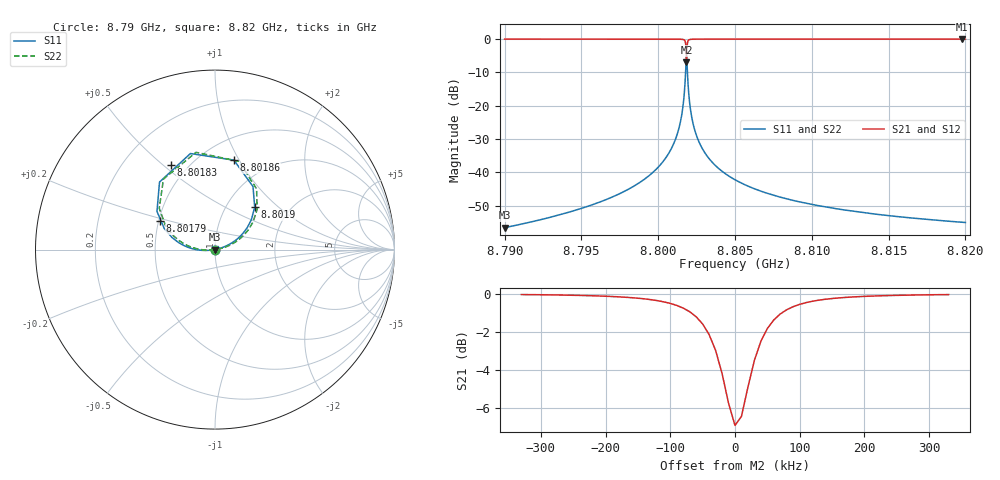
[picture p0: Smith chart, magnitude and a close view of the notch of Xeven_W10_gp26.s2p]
! Sonnet Data File
! From: emgraph Version : 16.52
! From Project: Qubit_Test_beforeopt
! Data is De-embedded
! Data File Written: 10/18/2017 16:57:23
!< HDATE 10/18/2017 09:03:38
!< MDATE 10/18/2017 09:03:38
!< PARAMS
!< Lj = 11.0
!< Gap = 26.0
!< Pwid = 2000.0
!< Airgap = 6.0
!< Width = 10.0
!< END PARAMS
# GHZ S MA R 51.80000
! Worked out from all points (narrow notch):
!   3001 points, 8.79 GHz to 8.82 GHz, reference 51.8 ohm
!   highest |S21| = 0.00 dB at 8.81976 GHz (marker M1); lowest = -6.9 dB at 8.80184 GHz (marker M2)
!   notch at M2: 6.9 dB deep, 56.4 kHz wide at half that depth
!   lowest |S11| = -56.6 dB at 8.79 GHz (marker M3), VSWR 1.00, Z = 51.6 + j0.00152 ohm
!   |S11| at or under -10 dB: start of sweep to 8.801783 GHz; 8.801902 GHz to end of sweep
!   |S22| runs from -56.6 to -5.2 dB; largest |S21 - S12| = 0
!   S11 on the Smith chart (normalised r, x): 8.79 GHz: 1.00, +0.00; 8.80179 GHz: 0.51, +0.18; 8.80183 GHz: 0.41, +0.53; 8.80186 GHz: 0.71, +0.95; 8.8019 GHz: 1.35, +0.71; 8.82 GHz: 1.00, +0.00
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8.79  0.001484 179.4  1 -80.5  1 -80.5  0.001482 -160.9
!< P1 F=8.79 Eeff=(6.44677226 -2.9786e-5) Z0=(51.7990523 1.19065e-4) R=0.0 C=0.0
!< P2 F=8.79 Eeff=(6.44677226 -2.9786e-5) Z0=(51.7990523 1.19065e-4) R=0.0 C=0.0
8.795  0.002886 -175.1  1 -80.6  1 -80.6  0.002884 -166.6
8.79803  0.005546 -172.6  1 -80.8  1 -80.8  0.005542 -169.7
8.8  0.01198 -171.6  0.9998 -81.2  0.9998 -81.2  0.01197 -172.1
8.80074  0.02033 -171.9  0.9994 -81.7  0.9994 -81.7  0.02032 -173.5
8.80124  0.03755 -173.3  0.9981 -82.7  0.9981 -82.7  0.03753 -175.7
8.80153  0.07239 -176.7  0.9931 -84.7  0.9931 -84.7  0.07235 -179.5
8.80169  0.1449 175.8  0.972 -88.8  0.972 -88.8  0.1449 172.7
8.80179  0.3434 152.7  0.8315 -99.4  0.8315 -99.4  0.3432 149.5
8.80183  0.5303 117.7  0.5146 -97.6  0.5146 -97.6  0.53 114.4
8.80184  0.5525 104.3  0.4496 -84.5  0.4496 -84.5  0.5522 101.1
8.80186  0.5094 78.1  0.5675 -60.0  0.5675 -60.0  0.5092 74.8
8.8019  0.3236 46.9  0.8524 -62.6  0.8524 -62.6  0.3235 43.5
8.80201  0.1334 25.1  0.9766 -72.9  0.9766 -72.9  0.1333 21.6
8.80222  0.06092 17.7  0.9952 -77.1  0.9952 -77.1  0.06089 13.8
8.80272  0.02662 14.4  0.9991 -79.0  0.9991 -79.0  0.02661 9.9
8.80362  0.0134 13.7  0.9998 -79.8  0.9998 -79.8  0.01339 7.9
8.805  0.007761 14.0  0.9999 -80.1  0.9999 -80.1  0.007757 6.4
8.81  0.003312 16.5  1 -80.4  1 -80.4  0.003311 2.9
8.815  0.002249 18.8  1 -80.5  1 -80.5  0.002248 0.3
8.81976  0.00179 20.7  1 -80.6  1 -80.6  0.001789 -1.7
8.82  0.001774 20.8  1 -80.6  1 -80.6  0.001772 -1.8
